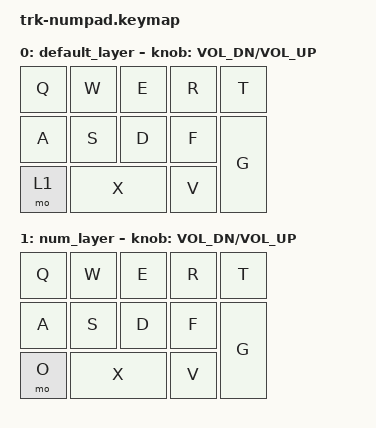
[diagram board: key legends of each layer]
#include <behaviors.dtsi>
#include <dt-bindings/zmk/bt.h>
#include <dt-bindings/zmk/keys.h>
#include <dt-bindings/zmk/pointing.h>

&encoder { status = "okay"; };

/ {
    keymap {
        compatible = "zmk,keymap";

        default_layer {
                bindings = <
                    &kp Q  &kp W  &kp E  &kp R  &kp T
                    &kp A  &kp S  &kp D  &kp F  &kp G
                    &mo 1  &kp X         &kp V
            >;
            sensor-bindings = <&inc_dec_kp C_VOL_DN C_VOL_UP>;
        };

        num_layer {
                bindings = <
                    &kp Q  &kp W  &kp E  &kp R  &kp T
                    &kp A  &kp S  &kp D  &kp F  &kp G
                    &mo O  &kp X         &kp V
            >;
            sensor-bindings = <&inc_dec_kp C_VOL_DN C_VOL_UP>;
        };
    };
};
